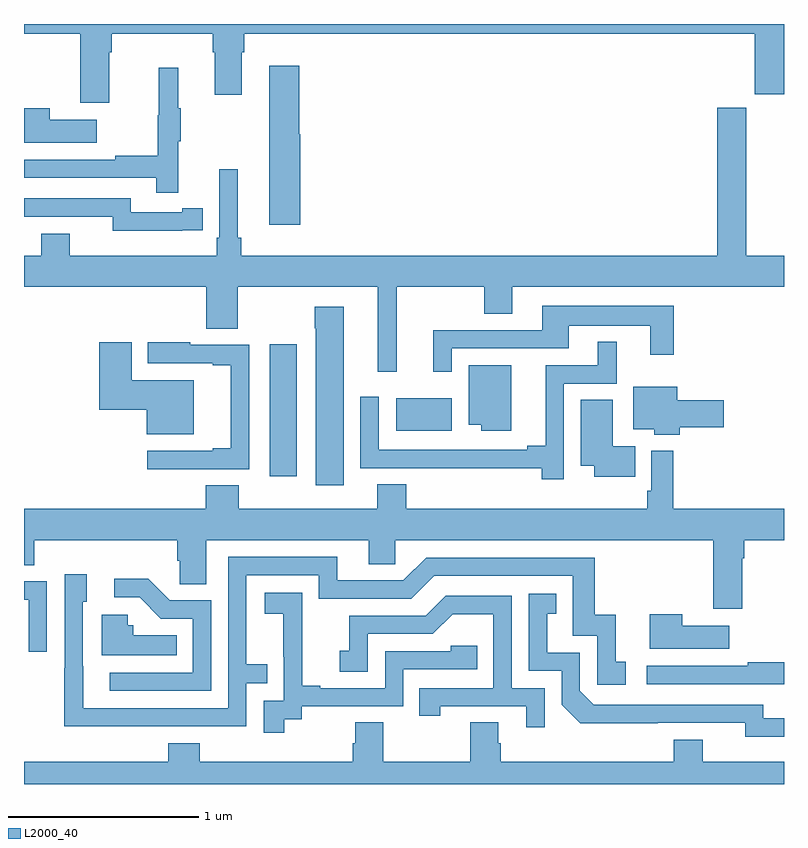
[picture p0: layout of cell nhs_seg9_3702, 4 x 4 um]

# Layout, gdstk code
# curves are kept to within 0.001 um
import gdstk
lib = gdstk.Library(unit=1e-6, precision=1e-09)
def R(c, l, rs):  # rectangles x0, y0, x1, y1
    for r in rs: c.add(gdstk.rectangle(r[:2], r[2:], *l))
def P(c, l, *ps):  # polygons
    for p in ps: c.add(gdstk.Polygon(p, *l))
L2000_40 = (2000, 40)

nhs_seg9_3702 = lib.new_cell('nhs_seg9_3702')
R(nhs_seg9_3702, L2000_40, [(324.293,1166.12,324.436,1166.815), (324.959,1166.36,325.252,1166.53)])
P(nhs_seg9_3702, L2000_40, [(323.449,1168.352),(323.462,1168.352),(323.462,1168.448),(323.993,1168.448),(323.993,1168.352),(324.005,1168.352),(324.005,1168.128),(324.145,1168.128),(324.145,1168.352),(324.158,1168.352),(324.158,1168.448),(326.846,1168.448),(326.846,1168.131),(327,1168.131),(327,1168.5),(323,1168.5),(323,1168.448),(323.297,1168.448),(323.297,1168.086),(323.449,1168.086)],
  [(324.454,1167.921),(324.449,1167.921),(324.449,1168.279),(324.29,1168.279),(324.29,1167.444),(324.454,1167.444)],
  [(323.813,1167.883),(323.824,1167.883),(323.824,1168.057),(323.813,1168.057),(323.813,1168.27),(323.71,1168.27),(323.71,1168.02),(323.703,1168.02),(323.703,1167.806),(323.479,1167.806),(323.479,1167.786),(323,1167.786),(323,1167.69),(323.695,1167.69),(323.695,1167.612),(323.813,1167.612)],
  [(323.96,1166.896),(324.126,1166.896),(324.126,1167.116),(324.863,1167.116),(324.863,1166.67),(324.962,1166.67),(324.962,1167.116),(325.423,1167.116),(325.423,1166.974),(325.57,1166.974),(325.57,1167.116),(327,1167.116),(327,1167.28),(326.8,1167.28),(326.8,1168.059),(326.648,1168.059),(326.648,1167.28),(324.143,1167.28),(324.143,1167.376),(324.124,1167.376),(324.124,1167.736),(324.027,1167.736),(324.027,1167.376),(324.014,1167.376),(324.014,1167.28),(323.242,1167.28),(323.242,1167.397),(323.09,1167.397),(323.09,1167.28),(323,1167.28),(323,1167.116),(323.96,1167.116)],
  [(323.383,1167.997),(323.135,1167.997),(323.135,1168.057),(323,1168.057),(323,1167.875),(323.383,1167.875)],
  [(323.834,1167.414),(323.942,1167.414),(323.942,1167.53),(323.834,1167.53),(323.834,1167.51),(323.562,1167.51),(323.562,1167.582),(323,1167.582),(323,1167.485),(323.006,1167.485),(323.006,1167.486),(323.466,1167.486),(323.466,1167.413),(323.834,1167.413)],
  [(325.251,1166.793),(325.867,1166.793),(325.867,1166.912),(326.297,1166.912),(326.297,1166.76),(326.419,1166.76),(326.419,1167.016),(325.727,1167.016),(325.727,1166.889),(325.154,1166.889),(325.154,1166.67),(325.251,1166.67)],
  [(324.682,1167.013),(324.529,1167.013),(324.529,1166.9),(324.536,1166.9),(324.536,1166.073),(324.682,1166.073)],
  [(325.842,1166.607),(326.119,1166.607),(326.119,1166.827),(326.021,1166.827),(326.021,1166.703),(325.745,1166.703),(325.745,1166.279),(325.649,1166.279),(325.649,1166.259),(324.867,1166.259),(324.867,1166.539),(324.771,1166.539),(324.771,1166.163),(325.096,1166.163),(325.096,1166.162),(325.726,1166.162),(325.726,1166.103),(325.842,1166.103)],
  [(323.873,1166.157),(324.186,1166.157),(324.186,1166.811),(323.876,1166.811),(323.876,1166.824),(323.651,1166.824),(323.651,1166.715),(323.993,1166.715),(323.993,1166.703),(324.089,1166.703),(324.089,1166.266),(323.993,1166.266),(323.993,1166.253),(323.649,1166.253),(323.649,1166.156),(323.873,1166.156)],
  [(323.893,1166.626),(323.566,1166.626),(323.566,1166.824),(323.396,1166.824),(323.396,1166.471),(323.645,1166.471),(323.645,1166.342),(323.893,1166.342)],
  [(325.564,1166.704),(325.34,1166.704),(325.34,1166.39),(325.406,1166.39),(325.406,1166.36),(325.564,1166.36)],
  [(326.45,1166.377),(326.683,1166.377),(326.683,1166.519),(326.437,1166.519),(326.437,1166.59),(326.207,1166.59),(326.207,1166.366),(326.316,1166.366),(326.316,1166.339),(326.45,1166.339)],
  [(326.216,1166.278),(326.098,1166.278),(326.098,1166.522),(325.931,1166.522),(325.931,1166.174),(326,1166.174),(326,1166.117),(326.216,1166.117)],
  [(326.779,1165.688),(326.792,1165.688),(326.792,1165.784),(327,1165.784),(327,1165.948),(326.417,1165.948),(326.417,1166.254),(326.301,1166.254),(326.301,1166.044),(326.281,1166.044),(326.281,1165.948),(325.013,1165.948),(325.013,1166.078),(324.86,1166.078),(324.86,1165.948),(324.129,1165.948),(324.129,1166.072),(323.957,1166.072),(323.957,1165.948),(323,1165.948),(323,1165.651),(323.054,1165.651),(323.054,1165.784),(323.807,1165.784),(323.807,1165.675),(323.82,1165.675),(323.82,1165.552),(323.959,1165.552),(323.959,1165.784),(324.815,1165.784),(324.815,1165.657),(324.954,1165.657),(324.954,1165.784),(326.627,1165.784),(326.627,1165.422),(326.779,1165.422)],
  [(323.675,1164.804),(324.171,1164.804),(324.171,1165.029),(324.281,1165.029),(324.281,1165.13),(324.171,1165.13),(324.171,1165.599),(324.552,1165.599),(324.552,1165.476),(325.038,1165.476),(325.158,1165.596),(325.887,1165.596),(325.887,1165.281),(326.016,1165.281),(326.016,1165.023),(326.167,1165.023),(326.167,1165.143),(326.114,1165.143),(326.114,1165.39),(326.003,1165.39),(326.003,1165.692),(325.116,1165.692),(324.996,1165.572),(324.649,1165.572),(324.649,1165.695),(324.075,1165.695),(324.075,1164.9),(323.311,1164.9),(323.31,1165.458),(323.329,1165.458),(323.329,1165.603),(323.214,1165.603),(323.214,1165.109),(323.212,1165.109),(323.212,1164.803)],
  [(323.985,1165.467),(323.766,1165.467),(323.653,1165.58),(323.475,1165.58),(323.475,1165.482),(323.609,1165.482),(323.72,1165.371),(323.889,1165.371),(323.889,1165.086),(323.451,1165.086),(323.451,1164.99),(323.985,1164.99)],
  [(323.121,1165.566),(323,1165.566),(323,1165.47),(323.025,1165.47),(323.025,1165.197),(323.121,1165.197)],
  [(324.37,1164.841),(324.462,1164.841),(324.462,1164.909),(324.996,1164.909),(324.996,1165.104),(325.385,1165.104),(325.385,1165.227),(325.245,1165.227),(325.245,1165.2),(324.9,1165.2),(324.9,1165.005),(324.559,1165.005),(324.559,1165.018),(324.464,1165.018),(324.464,1165.301),(324.465,1165.301),(324.465,1165.507),(324.267,1165.507),(324.267,1165.397),(324.365,1165.397),(324.365,1165.169),(324.366,1165.169),(324.366,1164.939),(324.261,1164.939),(324.261,1164.771),(324.37,1164.771)],
  [(327,1164.846),(326.892,1164.846),(326.892,1164.918),(325.998,1164.918),(325.926,1164.99),(325.926,1165.191),(325.753,1165.191),(325.753,1165.395),(325.802,1165.395),(325.802,1165.501),(325.656,1165.501),(325.656,1165.095),(325.83,1165.095),(325.83,1164.918),(325.928,1164.821),(326.796,1164.822),(326.796,1164.749),(327,1164.749)],
  [(325.74,1165.005),(325.566,1165.005),(325.566,1165.491),(325.22,1165.491),(325.115,1165.386),(324.712,1165.386),(324.712,1165.201),(324.663,1165.201),(324.663,1165.092),(324.81,1165.092),(324.81,1165.29),(325.152,1165.29),(325.256,1165.394),(325.47,1165.394),(325.47,1165.005),(325.081,1165.005),(325.081,1164.858),(325.192,1164.858),(325.192,1164.909),(325.643,1164.909),(325.643,1164.798),(325.74,1164.798)],
  [(326.713,1165.333),(326.465,1165.333),(326.465,1165.393),(326.294,1165.393),(326.294,1165.211),(326.713,1165.211)],
  [(323.804,1165.282),(323.574,1165.282),(323.574,1165.335),(323.547,1165.335),(323.547,1165.39),(323.408,1165.39),(323.408,1165.178),(323.804,1165.178)],
  [(327,1165.142),(326.809,1165.142),(326.809,1165.122),(326.277,1165.122),(326.277,1165.026),(327,1165.026)],
  [(327,1164.616),(326.572,1164.616),(326.572,1164.733),(326.42,1164.733),(326.42,1164.616),(325.508,1164.616),(325.508,1164.714),(325.495,1164.714),(325.495,1164.824),(325.348,1164.824),(325.348,1164.616),(324.891,1164.616),(324.891,1164.824),(324.743,1164.824),(324.743,1164.714),(324.731,1164.714),(324.731,1164.616),(323.924,1164.616),(323.924,1164.715),(323.759,1164.715),(323.759,1164.616),(323,1164.616),(323,1164.5),(327,1164.5)])

lib.write_gds('nhs_seg9_3702.gds')
